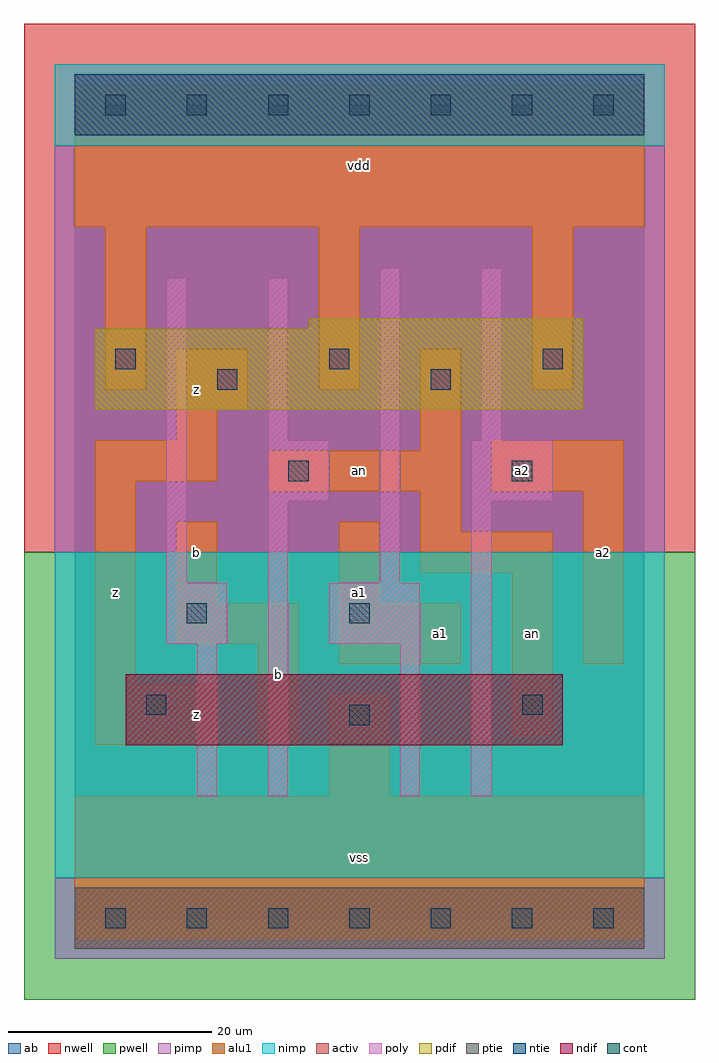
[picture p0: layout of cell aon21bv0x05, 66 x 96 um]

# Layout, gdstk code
import gdstk
lib = gdstk.Library(unit=1e-6, precision=1e-09)
def R(c, l, rs):  # rectangles x0, y0, x1, y1
    for r in rs: c.add(gdstk.rectangle(r[:2], r[2:], *l))
def A(c, l, x, y, w, h, nx, ny, dx, dy):  # array of equal rectangles
    R(c, l, [(x+i*dx, y+j*dy, x+i*dx+w, y+j*dy+h) for i in range(nx) for j in range(ny)])
ndif = (3, 0)
pdif = (4, 0)
ntie = (5, 0)
ptie = (6, 0)
cont = (25, 0)
pwell = (41, 0)
nwell = (42, 0)
activ = (43, 0)
pimp = (44, 0)
nimp = (45, 0)
poly = (46, 0)
alu1 = (49, 0)
ab = (63, 0)

aon21bv0x05 = lib.new_cell('aon21bv0x05')
R(aon21bv0x05, ndif, [(5,17,48,24)])
R(aon21bv0x05, pdif, [(2,50,50,58), (23,58,50,59)])
R(aon21bv0x05, ntie, [(0,77,56,83)])
R(aon21bv0x05, ptie, [(0,-3,56,3)])
A(aon21bv0x05, cont, 3, -1, 2, 2, 7, 2, 8, 80)
A(aon21bv0x05, cont, 4, 54, 2, 2, 3, 1, 21, 0)
R(aon21bv0x05, cont, [(27,19,29,21), (7,20,9,22), (44,20,46,22), (11,29,13,31), (27,29,29,31), (21,43,23,45), (43,43,45,45), (14,52,16,54), (35,52,37,54)])
R(aon21bv0x05, pwell, [(-5,-8,61,36)])
R(aon21bv0x05, nwell, [(-5,36,61,88)])
R(aon21bv0x05, activ, [(0,-3,56,3), (5,17,48,24), (2,50,50,58), (23,58,50,59), (0,77,56,83)])
R(aon21bv0x05, pimp, [(-2,-4,58,4), (-2,36,58,76)])
R(aon21bv0x05, nimp, [(-2,4,58,36), (-2,76,58,84)])
R(aon21bv0x05, poly, [(12,12,14,27), (19,12,21,41), (32,12,34,27), (39,12,41,41), (9,27,15,33), (25,27,34,33), (9,33,11,63), (30,33,32,64), (19,41,25,47), (39,41,47,47), (19,47,21,63), (40,47,42,64)])
A(aon21bv0x05, alu1, 3, 52, 4, 16, 3, 1, 21, 0)
R(aon21bv0x05, alu1, [(0,-2,56,12), (25,12,31,22), (2,17,14,23), (18,17,22,27), (43,18,47,34), (2,23,6,43), (26,25,38,31), (50,25,54,42), (10,27,22,31), (10,31,14,39), (26,31,30,39), (34,34,47,38), (34,38,38,42), (19,42,38,46), (41,42,54,47), (2,43,14,47), (34,46,38,56), (10,47,14,50), (10,50,17,56), (0,68,56,82)])
R(aon21bv0x05, ab, [(0,0,56,80)])
aon21bv0x05.add(gdstk.Label('an', (28,44), layer=49, texttype=0))
aon21bv0x05.add(gdstk.Label('an', (45,28), layer=49, texttype=0))
aon21bv0x05.add(gdstk.Label('z', (4,32), layer=49, texttype=0))
aon21bv0x05.add(gdstk.Label('z', (12,20), layer=49, texttype=0))
aon21bv0x05.add(gdstk.Label('b', (12,36), layer=49, texttype=0))
aon21bv0x05.add(gdstk.Label('b', (20,24), layer=49, texttype=0))
aon21bv0x05.add(gdstk.Label('z', (12,52), layer=49, texttype=0))
aon21bv0x05.add(gdstk.Label('vss', (28,6), layer=49, texttype=0))
aon21bv0x05.add(gdstk.Label('a1', (28,32), layer=49, texttype=0))
aon21bv0x05.add(gdstk.Label('a1', (36,28), layer=49, texttype=0))
aon21bv0x05.add(gdstk.Label('vdd', (28,74), layer=49, texttype=0))
aon21bv0x05.add(gdstk.Label('a2', (52,36), layer=49, texttype=0))
aon21bv0x05.add(gdstk.Label('a2', (44,44), layer=49, texttype=0))

lib.write_gds('aon21bv0x05.gds')
